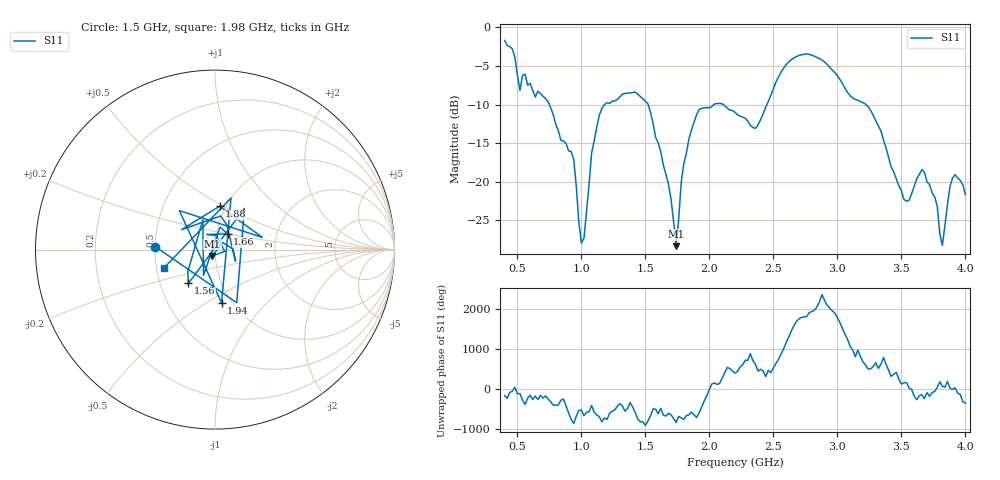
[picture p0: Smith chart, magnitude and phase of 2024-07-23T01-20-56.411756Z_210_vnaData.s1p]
!Created with skrf (http://scikit-rf.org).
# Hz S RI R 50.0
!freq ReS11 ImS11
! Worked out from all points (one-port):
!   181 points, 400 MHz to 4 GHz, reference 50 ohm
!   lowest |S11| = -28.3 dB at 1.74 GHz (marker M1), VSWR 1.08, Z = 48.5 - j3.45 ohm
!   |S11| at or under -10 dB: 749.6 MHz to 1.179 GHz (429.8 MHz wide, 44.6 % of centre); 1.522 GHz to 2.035 GHz (513.1 MHz wide, 28.9 % of centre); 3.224 GHz to end of sweep (the widest 3 of 4)
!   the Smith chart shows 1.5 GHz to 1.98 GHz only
!   S11 on the Smith chart (normalised r, x): 1.5 GHz: 0.50, +0.02; 1.56 GHz: 0.70, -0.28; 1.66 GHz: 1.13, +0.20; 1.88 GHz: 0.93, +0.48; 1.94 GHz: 0.90, -0.58; 1.98 GHz: 0.55, -0.12
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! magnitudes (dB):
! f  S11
! 400 MHz  -1.7
! 520 MHz  -8.2
! 560 MHz  -6.1
! 860 MHz  -14.7
! 940 MHz  -17.1
! 1 GHz  -27.9
! 1.14 GHz  -11.4
! 1.3 GHz  -9.0
! 1.5 GHz  -9.6
! 1.56 GHz  -12.4
! 1.66 GHz  -19.0
! 1.74 GHz  -28.3
! 1.76 GHz  -24.8
! 1.8 GHz  -17.6
! 1.88 GHz  -12.3
! 1.94 GHz  -10.5
! 1.98 GHz  -10.4
! 2.2 GHz  -11.0
! 2.36 GHz  -13.1
! 2.66 GHz  -3.9
! 3.1 GHz  -8.8
! 3.26 GHz  -10.8
! 3.56 GHz  -22.4
! 3.68 GHz  -18.8
! 3.78 GHz  -23.1
! 3.82 GHz  -28.3
! 3.9 GHz  -19.5
! 4 GHz  -21.7
